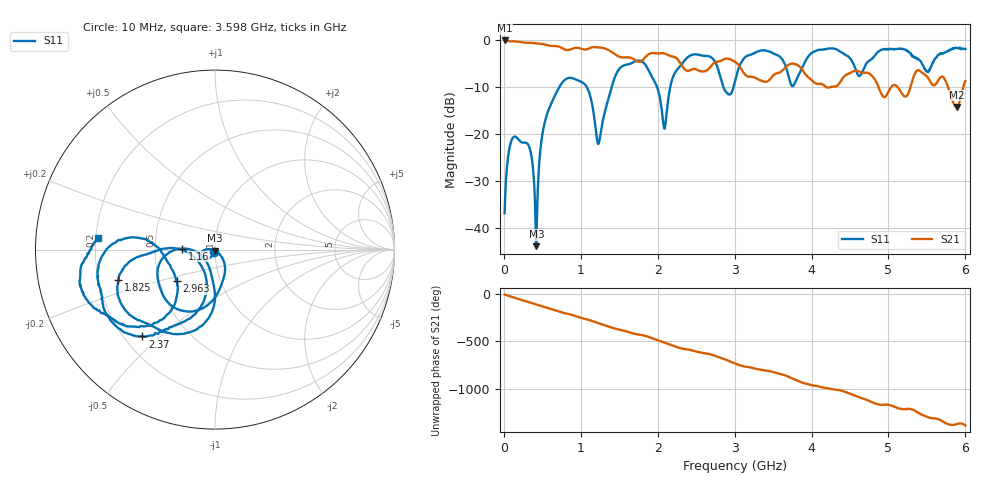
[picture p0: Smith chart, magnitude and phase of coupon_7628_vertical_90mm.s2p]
! NanoVNA-App
! Date: 2026-10-17 00:18:34
! Start: 10MHz Stop: 6GHz Points: 1001
! S-Parameter data: F S11 S21 S12 S22
# Hz S RI R 50
!  Frequency  S11_Real  S11_Imag  S21_Real  S21_Imag  S12_Real  S12_Imag  S22_Real  S22_Imag
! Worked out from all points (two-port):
!   1001 points, 10 MHz to 6 GHz, reference 50 ohm
!   highest |S21| = -0.11 dB at 10 MHz (marker M1); lowest = -14.3 dB at 5.886 GHz (marker M2)
!   |S21| within 3 dB of the highest: start of sweep to 1.45 GHz; 1.877 GHz to 2.124 GHz (246.6 MHz wide, 12.3 % of centre)
!   lowest |S11| = -43.9 dB at 423.3 MHz (marker M3), VSWR 1.01, Z = 50 - j0.642 ohm
!   |S11| at or under -10 dB: start of sweep to 721.5 MHz; 1.077 GHz to 1.402 GHz (324.5 MHz wide, 26.2 % of centre); 1.992 GHz to 2.163 GHz (171.2 MHz wide, 8.24 % of centre)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
!   S12 and S22 are empty: the file has one direction only
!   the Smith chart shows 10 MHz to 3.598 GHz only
!   S11 on the Smith chart (normalised r, x): 10 MHz: 0.99, -0.03; 1.16 GHz: 0.69, +0.01; 1.825 GHz: 0.29, -0.14; 2.37 GHz: 0.27, -0.44; 2.963 GHz: 0.61, -0.23; 3.598 GHz: 0.21, +0.05
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1e7  -0.00568 -0.0132  0.9867 -0.0486  0 0  0 0
1.4777e8  -0.0841 -0.0421  0.7546 -0.6008  0 0  0 0
4.2331e8  0.000107 -0.00642  -0.2914 -0.8729  0 0  0 0
5.7905e8  0.0437 -0.1726  -0.742 -0.4621  0 0  0 0
1.01033e9  -0.3191 -0.1628  -0.2621 0.7618  0 0  0 0
1.16008e9  -0.1814 0.00581  0.2347 0.8068  0 0  0 0
1.23196e9  -0.056 -0.056  0.4948 0.6718  0 0  0 0
1.38171e9  9.3e-05 -0.2765  0.7459 0.1613  0 0  0 0
1.82497e9  -0.5379 -0.1669  0.1402 -0.6184  0 0  0 0
2.01066e9  -0.283 0.00558  -0.4562 -0.5541  0 0  0 0
2.08853e9  -0.0885 -0.0715  -0.6371 -0.3334  0 0  0 0
2.37006e9  -0.404 -0.4839  -0.3457 0.3245  0 0  0 0
2.74144e9  -0.5929 0.013  0.2091 0.5372  0 0  0 0
2.96307e9  -0.2137 -0.176  0.6104 0.00845  0 0  0 0
3.005e9  -0.2195 -0.2887  0.5703 -0.1292  0 0  0 0
3.59801e9  -0.6496 0.0634  -0.2644 -0.3732  0 0  0 0
4.00533e9  -0.6628 -0.2996  -0.1674 0.3312  0 0  0 0
4.57438e9  -0.463 0.1364  0.4693 0.0289  0 0  0 0
5.00566e9  -0.7973 0.0299  -0.0111 -0.2877  0 0  0 0
5.39501e9  -0.5745 0.2321  -0.4752 -0.0068  0 0  0 0
5.88619e9  -0.8027 0.1845  0.0842 0.1741  0 0  0 0
6e9  -0.7672 0.2296  0.2335 0.2823  0 0  0 0
